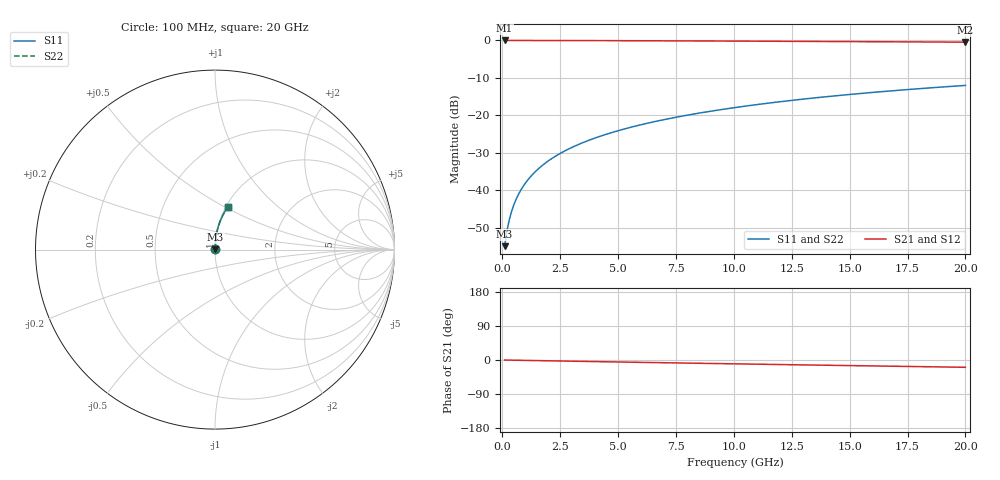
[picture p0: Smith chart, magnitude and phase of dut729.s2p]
! Touchstone file exported from HFSS 2024.1.0
!  File:  C:/UserFiles/LocalFiles/RDL_TSV_Batchsim/temp_RDL_top_729_1779850967.aedt
!  Generated:  11:05:26 AM May 27, 2026
!  Design:  RDL_top
!  Project:  temp_RDL_top_729_1779850967
!  Setup:  Setup1
!  Solution:  Sweep
! Variables:
!  dtsv = 10.80580581um
!  hbump = 3um
!  htsv = 67.31um
!  ldown = 100um
!  lrdl = 196.62um
!  p = 40
!  p1 = 58.93um
!  rhole = 1um
!  t = 450um
!  tdown = 3.915915916um
!  trdl = 4.16um
!  wdown = 15.38538539um
!  wrdl = 14.94um
# GHz S MA R 50.000000
! Terminal data exported
! Port[1] = Box2_T1
! Port[2] = Box2_T2
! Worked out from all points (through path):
!   200 points, 100 MHz to 20 GHz, reference 50 ohm
!   highest |S21| = -0.01 dB at 100 MHz (marker M1); lowest = -0.5 dB at 20 GHz (marker M2)
!   group delay of S21, straight-line fit = 2.66 ps
!   lowest |S11| = -54.9 dB at 100 MHz (marker M3), VSWR 1.00, Z = 50.1 + j0.128 ohm
!   |S11| at or under -10 dB: start of sweep to end of sweep
!   |S22| runs from -54.9 to -12.0 dB; largest |S21 - S12| = 4.1e-15
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0.1  0.0018 45.4  0.9987 -0.1  0.9987 -0.1  0.0018 45.4
! Gamma 0 0 0 0
! Port Impedance 50 0 50 0
0.2  0.002859 63.0  0.9987 -0.2  0.9987 -0.2  0.002859 63.0
0.3  0.004026 70.7  0.9987 -0.3  0.9987 -0.3  0.004026 70.7
0.4  0.00522 74.8  0.9986 -0.4  0.9986 -0.4  0.00522 74.8
0.5  0.006424 77.4  0.9986 -0.5  0.9986 -0.5  0.006424 77.4
0.7  0.008852 80.5  0.9985 -0.8  0.9985 -0.8  0.008852 80.5
0.8  0.01007 81.5  0.9984 -0.9  0.9984 -0.9  0.01007 81.5
1  0.01252 82.9  0.9983 -1.1  0.9983 -1.1  0.01252 82.9
1.2  0.01498 83.9  0.9982 -1.3  0.9982 -1.3  0.01498 83.9
1.4  0.01744 84.5  0.998 -1.5  0.998 -1.5  0.01744 84.5
1.7  0.02115 85.1  0.9978 -1.8  0.9978 -1.8  0.02115 85.1
2  0.02486 85.5  0.9975 -2.1  0.9975 -2.1  0.02486 85.5
2.7  0.03356 86.0  0.9966 -2.9  0.9966 -2.9  0.03356 86.0
3.5  0.04356 86.0  0.9954 -3.7  0.9954 -3.7  0.04356 86.0
4.2  0.05235 85.9  0.9941 -4.4  0.9941 -4.4  0.05235 85.9
5  0.06246 85.5  0.9925 -5.2  0.9925 -5.2  0.06246 85.5
6.8  0.0854 84.5  0.9884 -7.0  0.9884 -7.0  0.0854 84.5
8.3  0.1047 83.4  0.9845 -8.5  0.9845 -8.5  0.1047 83.4
10.1  0.1278 82.0  0.9796 -10.2  0.9796 -10.2  0.1278 82.0
13.4  0.17 79.1  0.9699 -13.3  0.9699 -13.3  0.17 79.1
16.7  0.2112 76.0  0.9592 -16.3  0.9592 -16.3  0.2112 76.0
20  0.2511 73.0  0.9477 -19.3  0.9477 -19.3  0.2511 73.0
